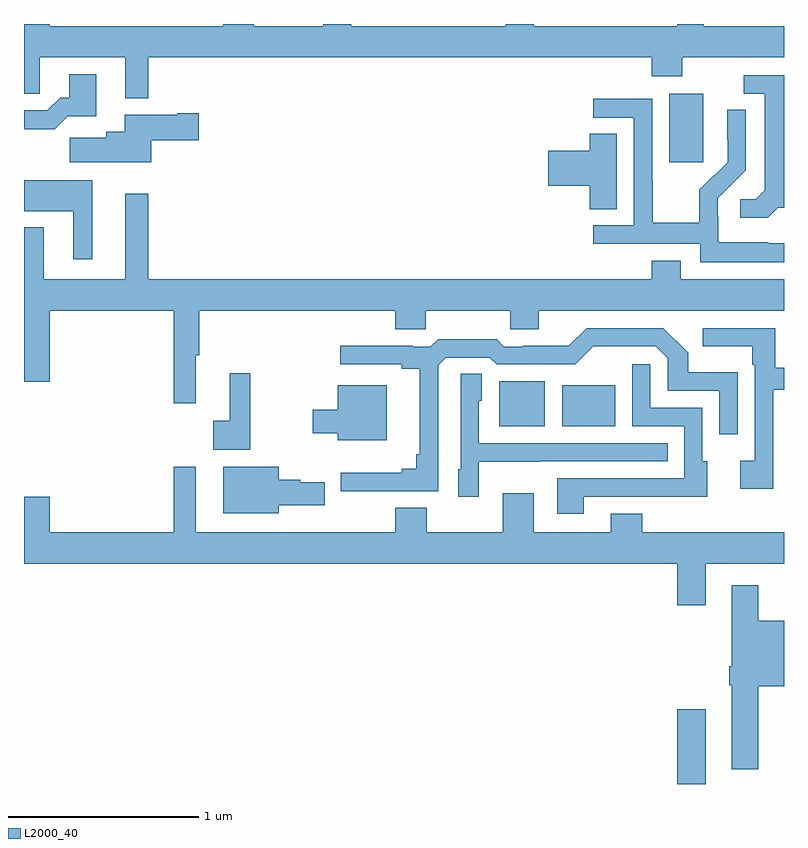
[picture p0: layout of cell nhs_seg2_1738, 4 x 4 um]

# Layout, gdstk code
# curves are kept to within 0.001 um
import gdstk
lib = gdstk.Library(unit=1e-6, precision=1e-09)
def R(c, l, rs):  # rectangles x0, y0, x1, y1
    for r in rs: c.add(gdstk.rectangle(r[:2], r[2:], *l))
def P(c, l, *ps):  # polygons
    for p in ps: c.add(gdstk.Polygon(p, *l))
L2000_40 = (2000, 40)

nhs_seg2_1738 = lib.new_cell('nhs_seg2_1738')
R(nhs_seg2_1738, L2000_40, [(204.437,655.8,204.589,656.194), (203.501,657.683,203.74,657.919), (203.834,657.683,204.112,657.898), (204.395,659.073,204.574,659.434)])
P(nhs_seg2_1738, L2000_40, [(201.655,659.624),(204.305,659.624),(204.305,659.525),(204.465,659.525),(204.465,659.624),(205,659.624),(205,659.788),(204.577,659.788),(204.577,659.8),(204.437,659.8),(204.437,659.788),(203.683,659.788),(203.683,659.8),(203.536,659.8),(203.536,659.788),(202.722,659.788),(202.722,659.8),(202.576,659.8),(202.576,659.788),(202.209,659.788),(202.209,659.8),(202.049,659.8),(202.049,659.788),(201.136,659.788),(201.136,659.8),(201,659.8),(201,659.434),(201.084,659.434),(201.084,659.624),(201.533,659.624),(201.533,659.408),(201.655,659.408)],
  [(201.23,659.315),(201.379,659.315),(201.379,659.536),(201.239,659.536),(201.239,659.413),(201.19,659.413),(201.123,659.346),(201,659.346),(201,659.246),(201.161,659.246)],
  [(204.966,658.833),(205,658.833),(205,659.529),(204.789,659.529),(204.789,659.433),(204.899,659.433),(204.899,658.925),(204.852,658.878),(204.771,658.878),(204.771,658.781),(204.914,658.781)],
  [(205,658.647),(204.917,658.647),(204.917,658.651),(204.654,658.651),(204.654,658.785),(204.652,658.785),(204.652,658.882),(204.798,659.03),(204.798,659.348),(204.702,659.348),(204.702,659.194),(204.704,659.194),(204.704,659.072),(204.633,659.001),(204.63,659.004),(204.553,658.927),(204.553,658.753),(204.309,658.753),(204.309,658.976),(204.306,658.976),(204.306,659.406),(203.997,659.406),(203.997,659.307),(204.21,659.307),(204.21,658.74),(203.997,658.74),(203.997,658.644),(204.558,658.644),(204.558,658.547),(205,658.547)],
  [(201.67,659.189),(201.919,659.189),(201.919,659.331),(201.806,659.331),(201.806,659.323),(201.53,659.323),(201.53,659.233),(201.434,659.233),(201.434,659.201),(201.24,659.201),(201.24,659.072),(201.67,659.072)],
  [(204.121,659.222),(203.978,659.222),(203.978,659.132),(203.76,659.132),(203.76,658.949),(203.978,658.949),(203.978,658.825),(204.121,658.825)],
  [(201.358,658.978),(201,658.978),(201,658.814),(201.26,658.814),(201.26,658.563),(201.358,658.563)],
  [(204.305,658.555),(204.305,658.456),(201.655,658.456),(201.655,658.906),(201.533,658.906),(201.533,658.456),(201.103,658.456),(201.103,658.729),(201,658.729),(201,657.918),(201.136,657.918),(201.136,658.292),(201.787,658.292),(201.787,657.804),(201.905,657.804),(201.905,658.056),(201.923,658.056),(201.923,658.292),(202.955,658.292),(202.955,658.194),(203.115,658.194),(203.115,658.292),(203.56,658.292),(203.56,658.194),(203.71,658.194),(203.71,658.292),(205,658.292),(205,658.456),(204.457,658.456),(204.457,658.555)],
  [(204.943,657.876),(205,657.876),(205,657.992),(204.955,657.992),(204.955,658.2),(204.573,658.2),(204.573,658.103),(204.834,658.103),(204.834,658.007),(204.846,658.007),(204.846,657.502),(204.771,657.502),(204.771,657.354),(204.943,657.354)],
  [(203.181,658.005),(203.22,658.044),(203.451,658.044),(203.487,658.008),(203.901,658.008),(203.996,658.103),(204.324,658.104),(204.387,658.041),(204.387,657.87),(204.66,657.87),(204.66,657.642),(204.756,657.642),(204.756,657.967),(204.495,657.967),(204.495,658.07),(204.364,658.2),(203.961,658.2),(203.867,658.106),(203.626,658.106),(203.626,658.101),(203.526,658.101),(203.487,658.141),(203.179,658.141),(203.139,658.101),(203.045,658.101),(203.045,658.106),(202.665,658.106),(202.665,658.008),(202.988,658.008),(202.988,657.986),(203.084,657.986),(203.084,657.535),(203.065,657.535),(203.065,657.458),(202.988,657.458),(202.988,657.439),(202.667,657.439),(202.667,657.342),(203.181,657.342)],
  [(203.947,657.312),(204.377,657.312),(204.377,657.311),(204.595,657.311),(204.595,657.498),(204.57,657.498),(204.57,657.78),(204.297,657.78),(204.297,658.009),(204.201,658.009),(204.201,657.684),(204.474,657.684),(204.474,657.408),(203.807,657.408),(203.807,657.222),(203.947,657.222)],
  [(202.192,657.961),(202.082,657.961),(202.082,657.713),(201.996,657.713),(201.996,657.56),(202.192,657.56)],
  [(203.394,657.497),(203.711,657.497),(203.711,657.498),(204.389,657.498),(204.389,657.594),(203.394,657.594),(203.394,657.816),(203.41,657.816),(203.41,657.959),(203.298,657.959),(203.298,657.456),(203.285,657.456),(203.285,657.312),(203.394,657.312)],
  [(202.909,657.898),(202.652,657.898),(202.652,657.769),(202.521,657.769),(202.521,657.647),(202.652,657.647),(202.652,657.608),(202.909,657.608)],
  [(202.342,657.266),(202.582,657.266),(202.582,657.388),(202.455,657.388),(202.455,657.401),(202.342,657.401),(202.342,657.469),(202.049,657.469),(202.049,657.224),(202.342,657.224)],
  [(204.589,656.96),(205,656.96),(205,657.124),(204.253,657.124),(204.253,657.223),(204.089,657.223),(204.089,657.124),(203.683,657.124),(203.683,657.331),(203.519,657.331),(203.519,657.124),(203.119,657.124),(203.119,657.253),(202.955,657.253),(202.955,657.124),(201.904,657.124),(201.904,657.469),(201.787,657.469),(201.787,657.124),(201.136,657.124),(201.136,657.313),(201,657.313),(201,656.96),(204.437,656.96),(204.437,656.742),(204.589,656.742)],
  [(204.865,656.315),(205,656.315),(205,656.659),(204.865,656.659),(204.865,656.845),(204.725,656.845),(204.725,656.419),(204.713,656.419),(204.713,656.319),(204.725,656.319),(204.725,655.877),(204.865,655.877)])

lib.write_gds('nhs_seg2_1738.gds')
